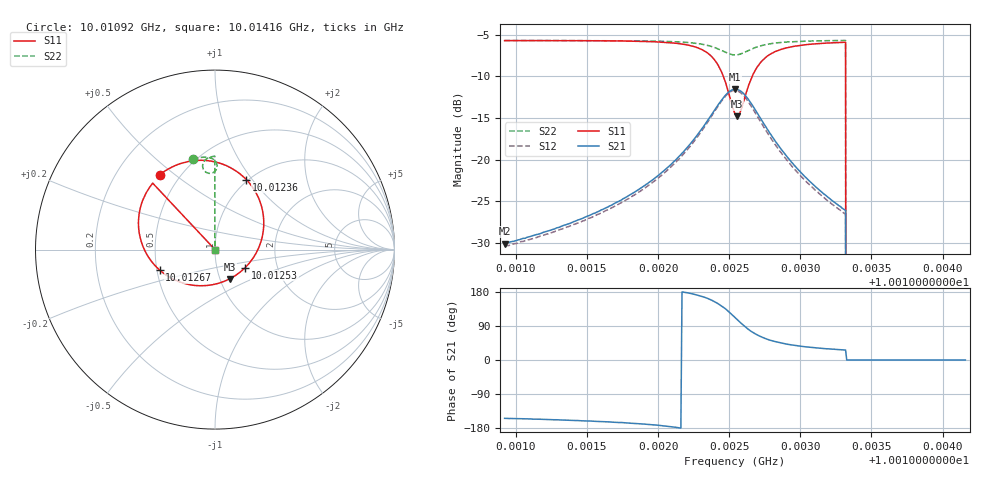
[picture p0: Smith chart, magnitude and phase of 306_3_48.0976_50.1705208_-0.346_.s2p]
#  HZ  S  RI  R  50.00
! Rohde & Schwarz Vector Network Analyzer
! Rohde-Schwarz,ZNB20-2Port,1311601062101988,3.16
! Created: UTC 12/23/2023, 4:05:17 AM
! freq[Hz]  re:S11  im:S11  re:S21  im:S21  re:S12  im:S12  re:S22  im:S22
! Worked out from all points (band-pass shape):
!   401 points, 10.01092 GHz to 10.01416 GHz, reference 50 ohm
!   highest |S21| = -11.54 dB at 10.01254 GHz (marker M1); lowest = -30.1 dB at 10.01092 GHz (marker M2)
!   |S21| within 3 dB of the highest: 10.01238 GHz to 10.0127 GHz (323.8 kHz wide, 0.00323 % of centre)
!   lowest |S11| = -14.8 dB at 10.01256 GHz (marker M3), VSWR 1.45, Z = 55.6 - j18.7 ohm
!   |S11| at or under -10 dB: 10.01246 GHz to 10.01266 GHz (202.5 kHz wide, 0.00202 % of centre); 10.01332 GHz to end of sweep
!   |S22| runs from - to -5.7 dB; largest |S21 - S12| = 0.012
!   S11 on the Smith chart (normalised r, x): 10.01092 GHz: 0.39, +0.44; 10.01236 GHz: 0.98, +0.94; 10.01253 GHz: 1.37, -0.29; 10.01267 GHz: 0.52, -0.13; 10.01416 GHz: 1.00, +0.00
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1.0010921e10  -0.3077 0.4183  -0.0281 -0.0137  -0.0262 -0.0149  -0.1238 0.505
1.0011464e10  -0.2488 0.4552  -0.0416 -0.0148  -0.0391 -0.0166  -0.0854 0.5125
1.001178e10  -0.1917 0.4795  -0.0579 -0.0144  -0.0549 -0.0171  -0.0601 0.5148
1.0012006e10  -0.1208 0.4951  -0.0801 -0.0109  -0.0767 -0.0149  -0.0385 0.5136
1.0012233e10  0.0223 0.4827  -0.1258 0.0102  -0.1225 0.00305  -0.0101 0.5038
1.0012363e10  0.1739 0.3905  -0.1684 0.0602  -0.1678 0.0499  0.00827 0.4825
1.0012411e10  0.237 0.2998  -0.1806 0.1006  -0.1829 0.0885  0.0118 0.4672
1.001246e10  0.2717 0.1597  -0.1785 0.1544  -0.1826 0.1449  0.00807 0.4478
1.00125e10  0.244 0.0112  -0.1518 0.2063  -0.1577 0.1979  -0.00481 0.4324
1.0012533e10  0.1688 -0.1  -0.1123 0.2395  -0.1177 0.2323  -0.0209 0.4254
1.0012541e10  0.1408 -0.1247  -0.0994 0.2455  -0.1061 0.2379  -0.0253 0.4247
1.0012557e10  0.082 -0.163  -0.0742 0.2534  -0.0806 0.2461  -0.0344 0.425
1.0012606e10  -0.1129 -0.1997  0.000731 0.2471  -0.00367 0.24  -0.0575 0.437
1.001267e10  -0.3086 -0.1138  0.0649 0.1966  0.0573 0.1906  -0.069 0.4621
1.0012743e10  -0.4018 0.0188  0.0865 0.1396  0.0786 0.1356  -0.065 0.4845
1.0012849e10  -0.4263 0.159  0.0834 0.0875  0.0763 0.0858  -0.0514 0.5022
1.0012954e10  -0.4129 0.2447  0.0723 0.0587  0.0666 0.0584  -0.0379 0.5107
1.0013083e10  -0.388 0.3072  0.0599 0.0394  0.0552 0.0398  -0.0234 0.5162
1.0013302e10  -0.3498 0.3669  0.0452 0.0226  0.0417 0.0236  -0.00281 0.5202
1.0013343e10  0 0  0 0  0 0  0 0
1.0013626e10  0 0  0 0  0 0  0 0
1.001416e10  0 0  0 0  0 0  0 0
